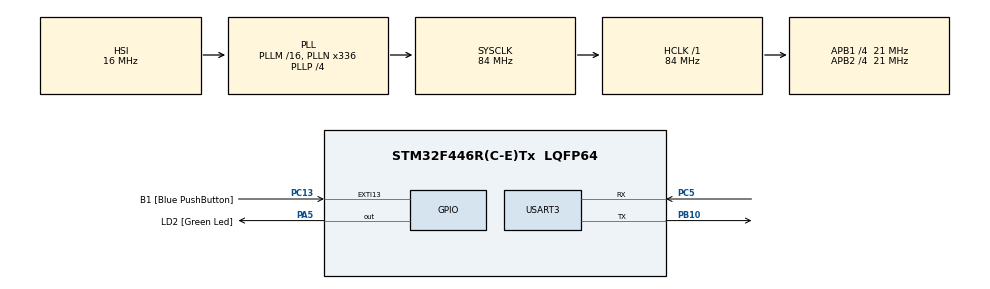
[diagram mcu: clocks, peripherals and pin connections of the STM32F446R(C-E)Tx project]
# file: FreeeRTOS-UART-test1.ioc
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FREERTOS.Tasks01=defaultTask,0,128,StartDefaultTask,Default,NULL,Dynamic,NULL,NULL;myTask02,0,128,StartTask02,Default,NULL,Dynamic,NULL,NULL;myTask03,1,128,StartTask03,Default,NULL,Dynamic,NULL,NULL
FREERTOS.configUSE_NEWLIB_REENTRANT=1
Mcu.Family=STM32F4
Mcu.Name=STM32F446R(C-E)Tx
Mcu.Package=LQFP64
NVIC.PriorityGroup=NVIC_PRIORITYGROUP_4
NVIC.TIM6_DAC_IRQn=true\:15\:0\:false\:false\:true\:false\:false\:true\:true
NVIC.TimeBase=TIM6_DAC_IRQn
NVIC.TimeBaseIP=TIM6
NVIC.USART3_IRQn=true\:5\:0\:false\:false\:true\:true\:true\:true\:true
PA13.GPIO_Label=TMS
PA13.Mode=Serial_Wire
PA13.Signal=SYS_JTMS-SWDIO
PA14.GPIO_Label=TCK
PA14.Mode=Serial_Wire
PA14.Signal=SYS_JTCK-SWCLK
PA2.GPIO_Label=USART_TX
PA2.Signal=USART2_TX
PA3.GPIO_Label=USART_RX
PA3.Signal=USART2_RX
PA5.GPIO_Label=LD2 [Green Led]
PA5.Signal=GPIO_Output
PB10.Mode=Asynchronous
PB10.Signal=USART3_TX
PB3.GPIO_Label=SWO
PB3.Signal=SYS_JTDO-SWO
PC13.GPIO_Label=B1 [Blue PushButton]
PC13.GPIO_ModeDefaultEXTI=GPIO_MODE_IT_FALLING
PC13.Signal=GPXTI13
PC14-OSC32_IN.Mode=LSE-External-Oscillator
PC14-OSC32_IN.Signal=RCC_OSC32_IN
PC15-OSC32_OUT.Mode=LSE-External-Oscillator
PC15-OSC32_OUT.Signal=RCC_OSC32_OUT
PC5.Mode=Asynchronous
PC5.Signal=USART3_RX
PH0-OSC_IN.Mode=HSE-External-Oscillator
PH0-OSC_IN.Signal=RCC_OSC_IN
PH1-OSC_OUT.Mode=HSE-External-Oscillator
PH1-OSC_OUT.Signal=RCC_OSC_OUT
ProjectManager.HeapSize=0x200
ProjectManager.StackSize=0x400
ProjectManager.TargetToolchain=Makefile
RCC.48MHZClocksFreq_Value=84000000
RCC.AHBFreq_Value=84000000
RCC.APB1CLKDivider=RCC_HCLK_DIV4
RCC.APB1Freq_Value=21000000
RCC.APB1TimFreq_Value=42000000
RCC.APB2CLKDivider=RCC_HCLK_DIV4
RCC.APB2Freq_Value=21000000
RCC.APB2TimFreq_Value=42000000
RCC.CortexFreq_Value=84000000
RCC.FLatency-AdvancedSettings=FLASH_LATENCY_2
RCC.HCLKFreq_Value=84000000
RCC.HSE_VALUE=8000000
RCC.HSI_VALUE=16000000
RCC.PLLN=336
RCC.PLLP=RCC_PLLP_DIV4
RCC.SYSCLKFreq_VALUE=84000000
RCC.SYSCLKSource=RCC_SYSCLKSOURCE_PLLCLK
RCC.USBFreq_Value=168000000
RCC.VCOOutputFreq_Value=336000000
USART3.VirtualMode=VM_ASYNC
VP_FREERTOS_VS_CMSIS_V1.Mode=CMSIS_V1
VP_SYS_VS_tim6.Mode=TIM6
board=NUCLEO-F446RE

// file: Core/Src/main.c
/* USER CODE BEGIN Header */

/*
Based on ST FreeRTOS example, use 3 tasks with different delays
and turn on/off the LED on the board
*/

/**
  ******************************************************************************
  * @file           : main.c
  * @brief          : Main program body
  ******************************************************************************
  * @attention
  *
  * Copyright (c) 2023 STMicroelectronics.
  * All rights reserved.
  *
  * This software is licensed under terms that can be found in the LICENSE file
  * in the root directory of this software component.
  * If no LICENSE file comes with this software, it is provided AS-IS.
  *
  ******************************************************************************
  */
/* USER CODE END Header */
#include "main.h"
#include "cmsis_os.h"

UART_HandleTypeDef huart3;

osThreadId defaultTaskHandle;
osThreadId myTask02Handle;
osThreadId myTask03Handle;

void SystemClock_Config(void);
static void MX_GPIO_Init(void);
static void MX_USART3_UART_Init(void);
void StartDefaultTask(void const * argument);
void StartTask02(void const * argument);
void StartTask03(void const * argument);

int main(void)
{

  /* MCU Configuration--------------------------------------------------------*/

  /* Reset of all peripherals, Initializes the Flash interface and the Systick. */
  HAL_Init();

  /* Configure the system clock */
  SystemClock_Config();

  /* Initialize all configured peripherals */
  MX_GPIO_Init();
  MX_USART3_UART_Init();

  /* USER CODE BEGIN 2 */
  uint8_t byte;
  HAL_UART_Receive_IT(&huart3, &byte, 1);

  /* USER CODE END 2 */

  /* Create the thread(s) */
  /* definition and creation of defaultTask */
  osThreadDef(defaultTask, StartDefaultTask, osPriorityNormal, 0, 128);
  defaultTaskHandle = osThreadCreate(osThread(defaultTask), NULL);

  /* definition and creation of myTask02 */
  osThreadDef(myTask02, StartTask02, osPriorityNormal, 0, 128);
  myTask02Handle = osThreadCreate(osThread(myTask02), NULL);

  /* definition and creation of myTask03 */
  osThreadDef(myTask03, StartTask03, osPriorityAboveNormal, 0, 128);
  myTask03Handle = osThreadCreate(osThread(myTask03), NULL);

  /* Start scheduler */
  osKernelStart();

  /* We should never get here as control is now taken by the scheduler */
  /* Infinite loop */
  while (1)
  {

  }
}

void SystemClock_Config(void)
{
  RCC_OscInitTypeDef RCC_OscInitStruct = {0};
  RCC_ClkInitTypeDef RCC_ClkInitStruct = {0};

  /** Configure the main internal regulator output voltage
  */
  __HAL_RCC_PWR_CLK_ENABLE();
  __HAL_PWR_VOLTAGESCALING_CONFIG(PWR_REGULATOR_VOLTAGE_SCALE3);

  /** Initializes the RCC Oscillators according to the specified parameters
  * in the RCC_OscInitTypeDef structure.
  */
  RCC_OscInitStruct.OscillatorType = RCC_OSCILLATORTYPE_HSI;
  RCC_OscInitStruct.HSIState = RCC_HSI_ON;
  RCC_OscInitStruct.HSICalibrationValue = RCC_HSICALIBRATION_DEFAULT;
  RCC_OscInitStruct.PLL.PLLState = RCC_PLL_ON;
  RCC_OscInitStruct.PLL.PLLSource = RCC_PLLSOURCE_HSI;
  RCC_OscInitStruct.PLL.PLLM = 16;
  RCC_OscInitStruct.PLL.PLLN = 336;
  RCC_OscInitStruct.PLL.PLLP = RCC_PLLP_DIV4;
  RCC_OscInitStruct.PLL.PLLQ = 2;
  RCC_OscInitStruct.PLL.PLLR = 2;
  if (HAL_RCC_OscConfig(&RCC_OscInitStruct) != HAL_OK)
  {
    Error_Handler();
  }

  /** Initializes the CPU, AHB and APB buses clocks
  */
  RCC_ClkInitStruct.ClockType = RCC_CLOCKTYPE_HCLK|RCC_CLOCKTYPE_SYSCLK
                              |RCC_CLOCKTYPE_PCLK1|RCC_CLOCKTYPE_PCLK2;
  RCC_ClkInitStruct.SYSCLKSource = RCC_SYSCLKSOURCE_PLLCLK;
  RCC_ClkInitStruct.AHBCLKDivider = RCC_SYSCLK_DIV1;
  RCC_ClkInitStruct.APB1CLKDivider = RCC_HCLK_DIV4;
  RCC_ClkInitStruct.APB2CLKDivider = RCC_HCLK_DIV4;

  if (HAL_RCC_ClockConfig(&RCC_ClkInitStruct, FLASH_LATENCY_2) != HAL_OK)
  {
    Error_Handler();
  }
}

static void MX_USART3_UART_Init(void)
{

  huart3.Instance = USART3;
  huart3.Init.BaudRate = 115200;
  huart3.Init.WordLength = UART_WORDLENGTH_8B;
  huart3.Init.StopBits = UART_STOPBITS_1;
  huart3.Init.Parity = UART_PARITY_NONE;
  huart3.Init.Mode = UART_MODE_TX_RX;
  huart3.Init.HwFlowCtl = UART_HWCONTROL_NONE;
  huart3.Init.OverSampling = UART_OVERSAMPLING_16;
  if (HAL_UART_Init(&huart3) != HAL_OK)
  {
    Error_Handler();
  }

}

static void MX_GPIO_Init(void)
{
  GPIO_InitTypeDef GPIO_InitStruct = {0};

  /* GPIO Ports Clock Enable */
  __HAL_RCC_GPIOC_CLK_ENABLE();
  __HAL_RCC_GPIOH_CLK_ENABLE();
  __HAL_RCC_GPIOA_CLK_ENABLE();
  __HAL_RCC_GPIOB_CLK_ENABLE();

  /*Configure GPIO pin Output Level */
  HAL_GPIO_WritePin(LD2_GPIO_Port, LD2_Pin, GPIO_PIN_RESET);

  /*Configure GPIO pin : B1_Pin */
  GPIO_InitStruct.Pin = B1_Pin;
  GPIO_InitStruct.Mode = GPIO_MODE_IT_FALLING;
  GPIO_InitStruct.Pull = GPIO_NOPULL;
  HAL_GPIO_Init(B1_GPIO_Port, &GPIO_InitStruct);

  /*Configure GPIO pins : USART_TX_Pin USART_RX_Pin */
  GPIO_InitStruct.Pin = USART_TX_Pin|USART_RX_Pin;
  GPIO_InitStruct.Mode = GPIO_MODE_AF_PP;
  GPIO_InitStruct.Pull = GPIO_NOPULL;
  GPIO_InitStruct.Speed = GPIO_SPEED_FREQ_VERY_HIGH;
  GPIO_InitStruct.Alternate = GPIO_AF7_USART2;
  HAL_GPIO_Init(GPIOA, &GPIO_InitStruct);

  /*Configure GPIO pin : LD2_Pin */
  GPIO_InitStruct.Pin = LD2_Pin;
  GPIO_InitStruct.Mode = GPIO_MODE_OUTPUT_PP;
  GPIO_InitStruct.Pull = GPIO_NOPULL;
  GPIO_InitStruct.Speed = GPIO_SPEED_FREQ_LOW;
  HAL_GPIO_Init(LD2_GPIO_Port, &GPIO_InitStruct);

}

void StartDefaultTask(void const * argument)
{
  /* USER CODE BEGIN 5 */
  /* Infinite loop */
  for(;;)
  {
    uint8_t txt[100]="Task1 - OpenEmbedded FreeRTOS\r\n";
    uint8_t rec[10];
    HAL_GPIO_WritePin(LD2_GPIO_Port, LD2_Pin, GPIO_PIN_SET);
    HAL_UART_Transmit(&huart3, txt, sizeof(txt), 500);
    osDelay(1000);
  }
  /* USER CODE END 5 */
}

void StartTask02(void const * argument)
{
  /* USER CODE BEGIN StartTask02 */
  /* Infinite loop */
  for(;;)
  {
    uint8_t txt[100]="Task2 - OpenEmbedded FreeRTOS\r\n";
    HAL_GPIO_WritePin(LD2_GPIO_Port, LD2_Pin, GPIO_PIN_RESET);
    HAL_UART_Transmit(&huart3, txt, sizeof(txt), 500);
    osDelay(5000);
  }
  /* USER CODE END StartTask02 */
}

void StartTask03(void const * argument)
{
  /* USER CODE BEGIN StartTask03 */
  /* Infinite loop */
  for(;;)
  {
    uint8_t txt[100]="Task3 - OpenEmbedded FreeRTOS\r\n";
    HAL_GPIO_WritePin(LD2_GPIO_Port, LD2_Pin, GPIO_PIN_SET);
    HAL_UART_Transmit(&huart3, txt, sizeof(txt), 500);
    osDelay(30000);
  }
  /* USER CODE END StartTask03 */
}

void HAL_TIM_PeriodElapsedCallback(TIM_HandleTypeDef *htim)
{
  if (htim->Instance == TIM6) {
    HAL_IncTick();
  }
}

void Error_Handler(void)
{
  __disable_irq();
  while (1)
  {
  }
}

/* Echo what was received */
uint8_t cmd_buffer[10];
uint8_t cmd_len=0;
char msg[50] = "Your command:\r\n";
char msg1[4] = "\r\n";

void HAL_UART_RxCpltCallback(UART_HandleTypeDef *huart){
  uint8_t byte;
  HAL_UART_Receive_IT(&huart3, &byte, 1);
  cmd_buffer[cmd_len++] = byte & 0xFF;
  if (byte == '\r' || cmd_len >8){
    if (cmd_buffer[0] == '\n'){
      cmd_buffer[0] = cmd_buffer[1];
    }
    HAL_UART_Transmit(&huart3, (uint8_t*)&msg, sizeof(msg), 500);
    HAL_UART_Transmit(&huart3, (uint8_t*)&cmd_buffer, cmd_len-1, 500);
    HAL_UART_Transmit(&huart3, (uint8_t*)&msg1, sizeof(msg1), 100);
    cmd_len = 0;
  }
}
